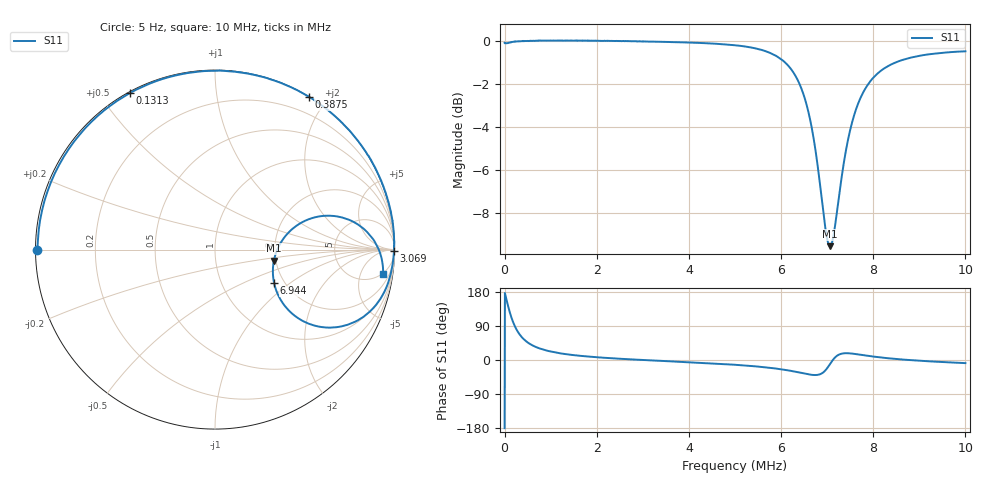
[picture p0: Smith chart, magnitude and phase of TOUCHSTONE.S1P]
!Keysight Technologies,E5061B,MY49912438,B.06.30
!Date: Thu Nov 06 18:24:01 2025
!Data & Calibration Information:
!Freq	S11:SOLT2(ON)
# Hz S dB R 50
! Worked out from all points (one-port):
!   1601 points, 5 Hz to 10 MHz, reference 50 ohm
!   lowest |S11| = -9.5 dB at 7.063 MHz (marker M1), VSWR 2.00, Z = 97.6 - j13.4 ohm
!   |S11| at or under -10 dB: nowhere
!   S11 on the Smith chart (normalised r, x): 5 Hz: 0.01, -0.00; 131.3 kHz: 0.00, +0.60; 387.5 kHz: 0.00, +1.79; 3.069 MHz: open; 6.944 MHz: 1.77, -0.78; 10 MHz: 5, -12
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5  -0.09 -180.0
56254.97  -0.10 151.5
93754.95  -0.08 133.9
131254.9  -0.06 118.4
175004.9  -0.04 102.9
225004.9  -0.02 88.5
300004.8  -0.02 72.0
387504.8  -0.00 58.4
518754.7  0.00 44.8
687504.7  0.01 33.9
937504.5  0.02 24.1
1250004  0.02 16.8
1781254  0.01 9.4
2500004  -0.00 3.3
3068753  -0.02 -0.4
3750003  -0.06 -4.3
5000002  -0.20 -12.6
5756252  -0.55 -20.5
6250002  -1.41 -29.4
6637502  -3.73 -38.7
6787502  -5.69 -39.3
6943752  -8.42 -29.7
7062501  -9.53 -10.5
7281251  -6.83 15.5
7500001  -4.13 17.5
8006251  -1.69 9.0
8750001  -0.81 0.2
1e7  -0.48 -8.2
